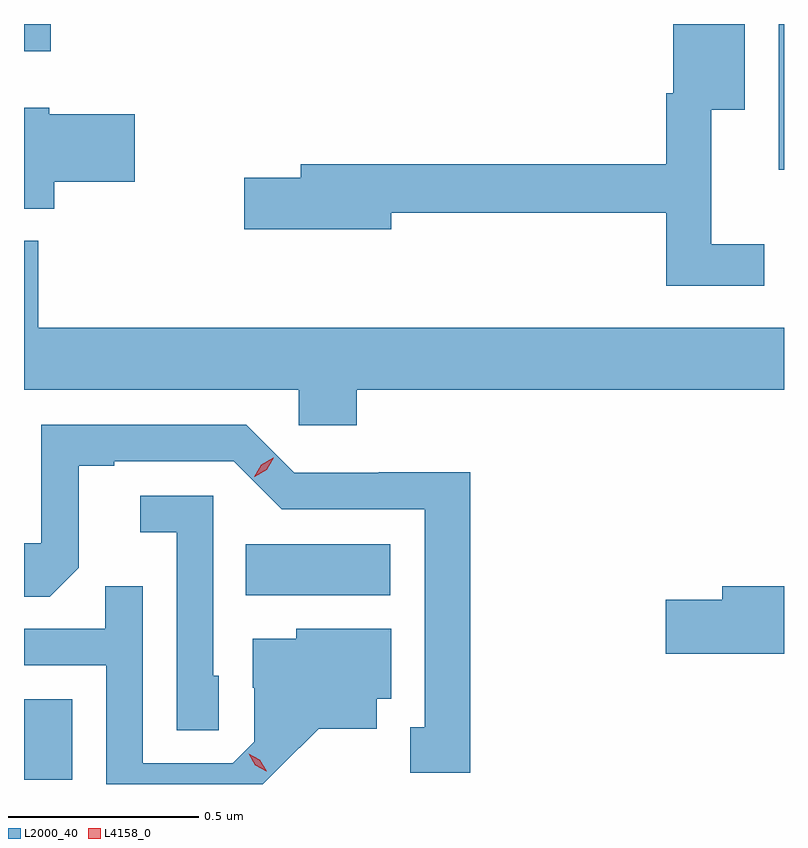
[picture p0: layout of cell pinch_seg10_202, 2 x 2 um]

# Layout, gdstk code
import gdstk
lib = gdstk.Library(unit=1e-6, precision=1e-09)
def R(c, l, rs):  # rectangles x0, y0, x1, y1
    for r in rs: c.add(gdstk.rectangle(r[:2], r[2:], *l))
def P(c, l, *ps):  # polygons
    for p in ps: c.add(gdstk.Polygon(p, *l))
L2000_40 = (2000, 40)
L4158_0 = (4158, 0)

pinch_seg10_202 = lib.new_cell('pinch_seg10_202')
R(pinch_seg10_202, L2000_40, [(719.757,1276.646,719.884,1276.858), (720.34,1277.132,720.721,1277.266), (721.743,1278.252,721.757,1278.635), (719.757,1278.563,719.827,1278.635)])
P(pinch_seg10_202, L2000_40, [(721.705,1278.055),(721.565,1278.055),(721.565,1278.41),(721.654,1278.41),(721.654,1278.635),(721.466,1278.635),(721.466,1278.453),(721.447,1278.453),(721.447,1278.266),(720.485,1278.266),(720.485,1278.23),(720.336,1278.23),(720.336,1278.095),(720.724,1278.095),(720.724,1278.138),(721.447,1278.138),(721.447,1277.946),(721.705,1277.946)],
  [(719.837,1278.22),(720.049,1278.22),(720.049,1278.398),(719.824,1278.398),(719.824,1278.415),(719.757,1278.415),(719.757,1278.149),(719.837,1278.149)],
  [(720.632,1277.672),(721.757,1277.672),(721.757,1277.836),(719.795,1277.836),(719.795,1278.064),(719.757,1278.064),(719.757,1277.672),(720.48,1277.672),(720.48,1277.579),(720.632,1277.579)],
  [(720.931,1277.456),(720.69,1277.456),(720.69,1277.454),(720.468,1277.454),(720.342,1277.58),(719.802,1277.58),(719.802,1277.268),(719.757,1277.268),(719.757,1277.128),(719.825,1277.128),(719.901,1277.204),(719.901,1277.472),(719.995,1277.472),(719.995,1277.484),(720.309,1277.484),(720.435,1277.358),(720.812,1277.358),(720.812,1276.785),(720.773,1276.785),(720.773,1276.665),(720.931,1276.665)],
  [(720.27,1276.92),(720.255,1276.92),(720.255,1277.394),(720.063,1277.394),(720.063,1277.297),(720.159,1277.297),(720.159,1276.777),(720.27,1276.777)],
  [(720.43,1276.679),(720.533,1276.781),(720.685,1276.781),(720.685,1276.86),(720.724,1276.86),(720.724,1277.044),(720.474,1277.044),(720.474,1277.017),(720.359,1277.017),(720.359,1276.888),(720.363,1276.888),(720.363,1276.746),(720.306,1276.689),(720.069,1276.689),(720.069,1277.156),(719.971,1277.156),(719.971,1277.043),(719.757,1277.043),(719.757,1276.947),(719.973,1276.947),(719.973,1276.635),(720.385,1276.635)],
  [(721.757,1277.156),(721.595,1277.156),(721.595,1277.12),(721.446,1277.12),(721.446,1276.978),(721.757,1276.978)])
P(pinch_seg10_202, L4158_0, [(720.395,1276.669),(720.365,1276.684),(720.348,1276.714),(720.348,1276.714),(720.348,1276.714),(720.378,1276.699),(720.396,1276.669),(720.396,1276.669)],
  [(720.363,1277.443),(720.363,1277.443),(720.381,1277.475),(720.413,1277.494),(720.414,1277.494),(720.414,1277.494),(720.396,1277.462),(720.364,1277.443)])

lib.write_gds('pinch_seg10_202.gds')
